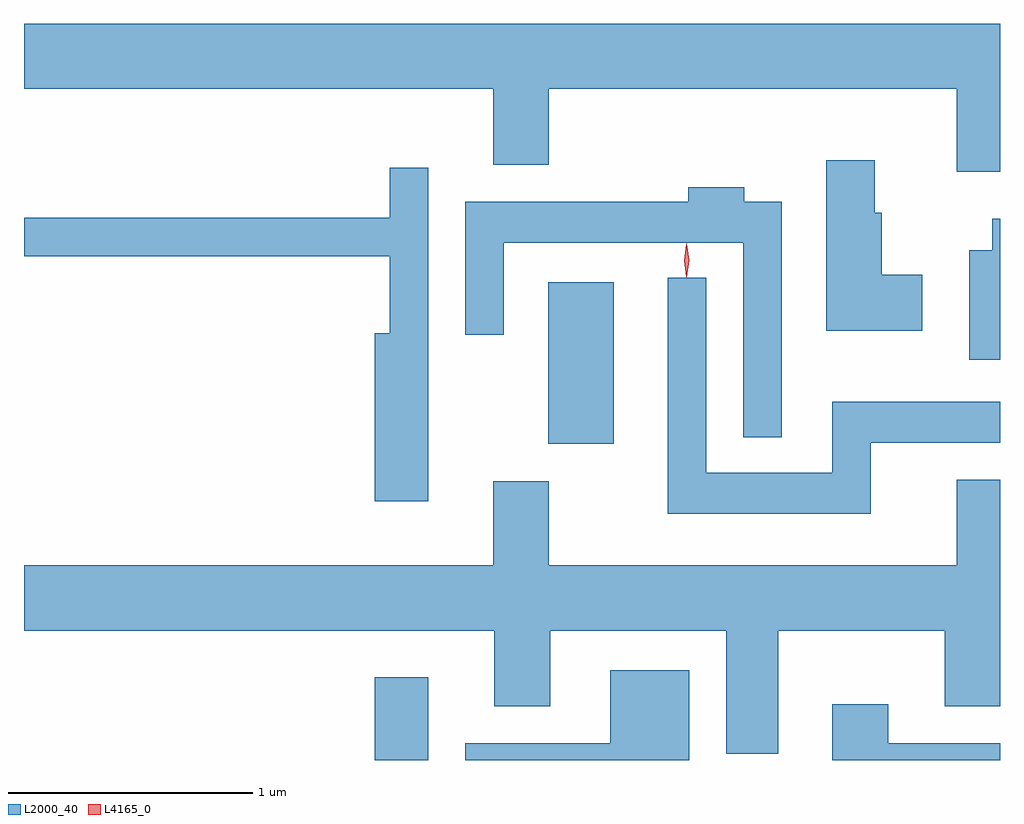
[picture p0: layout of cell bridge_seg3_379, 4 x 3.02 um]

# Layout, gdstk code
import gdstk
lib = gdstk.Library(unit=1e-6, precision=1e-09)
def R(c, l, rs):  # rectangles x0, y0, x1, y1
    for r in rs: c.add(gdstk.rectangle(r[:2], r[2:], *l))
def P(c, l, *ps):  # polygons
    for p in ps: c.add(gdstk.Polygon(p, *l))
L2000_40 = (2000, 40)
L4165_0 = (4165, 0)

bridge_seg3_379 = lib.new_cell('bridge_seg3_379')
R(bridge_seg3_379, L2000_40, [(570.496,1141.024,570.714,1141.364), (571.206,1142.321,571.474,1142.984)])
P(bridge_seg3_379, L2000_40, [(573.058,1144.044),(569.058,1144.044),(569.058,1143.776),(570.981,1143.776),(570.981,1143.466),(571.209,1143.466),(571.209,1143.776),(572.881,1143.776),(572.881,1143.436),(573.058,1143.436)],
  [(572.739,1143.014),(572.574,1143.014),(572.574,1143.269),(572.544,1143.269),(572.544,1143.484),(572.346,1143.484),(572.346,1142.786),(572.739,1142.786)],
  [(570.714,1143.453),(570.556,1143.453),(570.556,1143.249),(569.058,1143.249),(569.058,1143.091),(570.556,1143.091),(570.556,1142.774),(570.496,1142.774),(570.496,1142.086),(570.714,1142.086)],
  [(572.164,1143.314),(572.009,1143.314),(572.009,1143.374),(571.781,1143.374),(571.781,1143.314),(570.866,1143.314),(570.866,1142.768),(571.024,1142.768),(571.024,1143.146),(572.006,1143.146),(572.006,1142.348),(572.164,1142.348)],
  [(573.058,1143.244),(573.026,1143.244),(573.026,1143.114),(572.931,1143.114),(572.931,1142.666),(573.058,1142.666)],
  [(572.529,1142.326),(573.058,1142.326),(573.058,1142.494),(572.371,1142.494),(572.371,1142.204),(571.854,1142.204),(571.854,1143.003),(571.696,1143.003),(571.696,1142.036),(572.529,1142.036)],
  [(572.149,1141.556),(572.831,1141.556),(572.831,1141.246),(573.058,1141.246),(573.058,1142.174),(572.881,1142.174),(572.881,1141.824),(571.209,1141.824),(571.209,1142.169),(570.981,1142.169),(570.981,1141.824),(569.058,1141.824),(569.058,1141.556),(570.986,1141.556),(570.986,1141.246),(571.214,1141.246),(571.214,1141.556),(571.936,1141.556),(571.936,1141.051),(572.149,1141.051)],
  [(571.784,1141.394),(571.461,1141.394),(571.461,1141.094),(570.866,1141.094),(570.866,1141.024),(571.784,1141.024)],
  [(573.058,1141.094),(572.599,1141.094),(572.599,1141.254),(572.371,1141.254),(572.371,1141.024),(573.058,1141.024)])
P(bridge_seg3_379, L4165_0, [(571.773,1143.007),(571.764,1143.074),(571.773,1143.14),(571.774,1143.14),(571.774,1143.14),(571.783,1143.074),(571.774,1143.007),(571.774,1143.007)],
  [(571.774,1143.004),(571.765,1143.073),(571.774,1143.142),(571.775,1143.143),(571.775,1143.142),(571.785,1143.073),(571.775,1143.004),(571.775,1143.004)])

lib.write_gds('bridge_seg3_379.gds')
